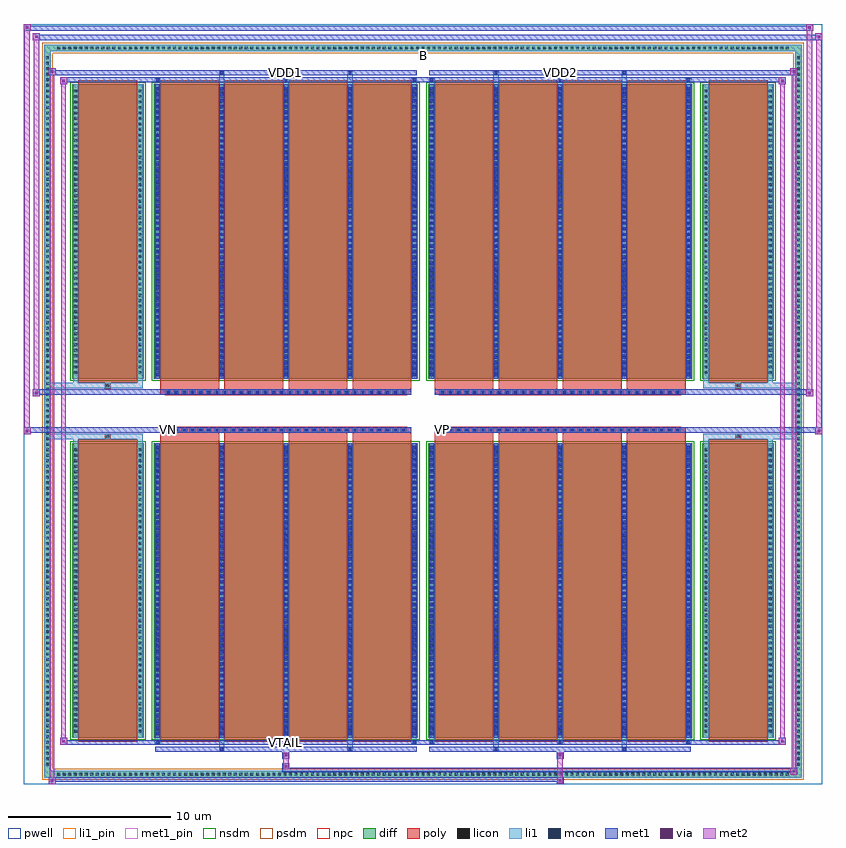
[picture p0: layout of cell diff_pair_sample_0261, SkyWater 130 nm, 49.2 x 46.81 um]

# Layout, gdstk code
import gdstk
lib = gdstk.Library(unit=1e-6, precision=5e-09)
def R(c, l, rs):  # rectangles x0, y0, x1, y1
    for r in rs: c.add(gdstk.rectangle(r[:2], r[2:], *l))
def A(c, l, x, y, w, h, nx, ny, dx, dy):  # array of equal rectangles
    R(c, l, [(x+i*dx, y+j*dy, x+i*dx+w, y+j*dy+h) for i in range(nx) for j in range(ny)])
def P(c, l, *ps):  # polygons
    for p in ps: c.add(gdstk.Polygon(p, *l))
pwell = (64, 44)
diff = (65, 20)
poly = (66, 20)
licon = (66, 44)
li1_pin = (67, 16)
li1 = (67, 20)
mcon = (67, 44)
met1_pin = (68, 16)
met1 = (68, 20)
via = (68, 44)
met2 = (69, 20)
nsdm = (93, 44)
psdm = (94, 20)
npc = (95, 20)

diff_pair_sample_0261 = lib.new_cell('diff_pair_sample_0261')
R(diff_pair_sample_0261, pwell, [(-24.6,-22.97,24.6,23.84), (-21.92,-21.16,-0.01,-0.8), (0.01,-21.16,21.92,-0.8), (-21.92,0.8,-0.01,21.16), (0.01,0.8,21.92,21.16)])
A(diff_pair_sample_0261, diff, -22.645, -22.57, 0.41, 0.41, 133, 2, 0.34, 44.73)
A(diff_pair_sample_0261, diff, -23.33, -21.965, 0.41, 0.41, 1, 129, 0, 0.34)
A(diff_pair_sample_0261, diff, 22.92, -21.965, 0.41, 0.41, 1, 129, 0, 0.34)
R(diff_pair_sample_0261, diff, [(-22.645,-22.57,22.645,-22.16), (-23.33,-21.965,-22.92,21.965), (22.92,-21.965,23.33,21.965), (-21.61,-20.115,-17.21,-1.985), (-16.57,-20.115,-0.32,-1.985), (0.32,-20.115,16.57,-1.985), (17.21,-20.115,21.61,-1.985), (-21.61,1.985,-17.21,20.115), (-16.57,1.985,-0.32,20.115), (0.32,1.985,16.57,20.115), (17.21,1.985,21.61,20.115), (-22.645,22.16,22.645,22.57)])
P(diff_pair_sample_0261, diff, [(23.33,22.57),(-23.33,22.57),(-23.33,-22.16),(-22.92,-22.16),(-22.92,22.16),(22.92,22.16),(22.92,-22.16),(-22.92,-22.16),(-23.33,-22.16),(-23.33,-22.57),(23.33,-22.57)])
A(diff_pair_sample_0261, poly, -16.18, -20.365, 3.62, 18.63, 4, 2, 3.95, 22.1)
A(diff_pair_sample_0261, poly, 0.71, -20.365, 3.62, 18.63, 4, 2, 3.95, 22.1)
A(diff_pair_sample_0261, poly, -16.18, -1.735, 3.62, 0.405, 4, 2, 3.95, 3.065)
A(diff_pair_sample_0261, poly, 0.71, -1.735, 3.62, 0.405, 4, 2, 3.95, 3.065)
A(diff_pair_sample_0261, poly, -15.86, -1.33, 0.33, 0.33, 30, 2, 0.5, 2.33)
A(diff_pair_sample_0261, poly, 1.03, -1.33, 0.33, 0.33, 30, 2, 0.5, 2.33)
R(diff_pair_sample_0261, poly, [(-21.22,-20.365,-17.6,-1.735), (17.6,-20.365,21.22,-1.735), (-19.575,-1.735,-19.245,-1.405), (-19.575,-1.735,-19.245,-1.405), (19.245,-1.735,19.575,-1.405), (19.245,-1.735,19.575,-1.405), (-16.18,-1.33,-0.71,-1), (0.71,-1.33,16.18,-1), (-16.18,1,-0.71,1.33), (0.71,1,16.18,1.33), (-19.575,1.405,-19.245,1.735), (-19.575,1.405,-19.245,1.735), (19.245,1.405,19.575,1.735), (19.245,1.405,19.575,1.735), (-21.22,1.735,-17.6,20.365), (17.6,1.735,21.22,20.365)])
A(diff_pair_sample_0261, licon, -22.525, -22.45, 0.17, 0.17, 133, 2, 0.34, 44.73)
A(diff_pair_sample_0261, licon, -23.21, -21.845, 0.17, 0.17, 1, 129, 0, 0.34)
A(diff_pair_sample_0261, licon, 23.04, -21.845, 0.17, 0.17, 1, 129, 0, 0.34)
A(diff_pair_sample_0261, licon, -21.47, -19.805, 0.17, 0.17, 1, 52, 0, 0.34)
A(diff_pair_sample_0261, licon, -17.52, -19.805, 0.17, 0.17, 1, 52, 0, 0.34)
A(diff_pair_sample_0261, licon, -16.43, -19.805, 0.17, 0.17, 5, 52, 3.95, 0.34)
A(diff_pair_sample_0261, licon, 0.46, -19.805, 0.17, 0.17, 5, 52, 3.95, 0.34)
A(diff_pair_sample_0261, licon, 17.35, -19.805, 0.17, 0.17, 1, 52, 0, 0.34)
A(diff_pair_sample_0261, licon, 21.3, -19.805, 0.17, 0.17, 1, 52, 0, 0.34)
A(diff_pair_sample_0261, licon, -15.78, -1.25, 0.17, 0.17, 30, 2, 0.5, 2.33)
A(diff_pair_sample_0261, licon, 1.11, -1.25, 0.17, 0.17, 30, 2, 0.5, 2.33)
A(diff_pair_sample_0261, licon, -21.47, 2.295, 0.17, 0.17, 1, 52, 0, 0.34)
A(diff_pair_sample_0261, licon, -17.52, 2.295, 0.17, 0.17, 1, 52, 0, 0.34)
A(diff_pair_sample_0261, licon, -16.43, 2.295, 0.17, 0.17, 5, 52, 3.95, 0.34)
A(diff_pair_sample_0261, licon, 0.46, 2.295, 0.17, 0.17, 5, 52, 3.95, 0.34)
A(diff_pair_sample_0261, licon, 17.35, 2.295, 0.17, 0.17, 1, 52, 0, 0.34)
A(diff_pair_sample_0261, licon, 21.3, 2.295, 0.17, 0.17, 1, 52, 0, 0.34)
R(diff_pair_sample_0261, licon, [(-19.495,-1.655,-19.325,-1.485), (19.325,-1.655,19.495,-1.485), (-19.495,1.485,-19.325,1.655), (19.325,1.485,19.495,1.655)])
R(diff_pair_sample_0261, li1_pin, [(-0.25,21.66,0.25,22.16)])
A(diff_pair_sample_0261, li1, -22.605, -22.53, 0.33, 0.33, 133, 2, 0.34, 44.73)
A(diff_pair_sample_0261, li1, -23.29, -21.925, 0.33, 0.33, 1, 129, 0, 0.34)
A(diff_pair_sample_0261, li1, 22.96, -21.925, 0.33, 0.33, 1, 129, 0, 0.34)
A(diff_pair_sample_0261, li1, -16.51, -20.49, 0.33, 0.375, 3, 2, 7.9, 40.605)
A(diff_pair_sample_0261, li1, -16.43, -20.49, 0.17, 0.17, 3, 2, 7.9, 40.81)
A(diff_pair_sample_0261, li1, 0.38, -20.49, 0.33, 0.375, 3, 2, 7.9, 40.605)
A(diff_pair_sample_0261, li1, 0.46, -20.49, 0.17, 0.17, 3, 2, 7.9, 40.81)
A(diff_pair_sample_0261, li1, -16.51, -20.115, 0.33, 18.13, 5, 2, 3.95, 22.1)
A(diff_pair_sample_0261, li1, 0.38, -20.115, 0.33, 18.13, 5, 2, 3.95, 22.1)
A(diff_pair_sample_0261, li1, -16.43, -19.955, 0.17, 0.17, 5, 50, 3.95, 0.36)
A(diff_pair_sample_0261, li1, -16.43, -19.955, 0.17, 17.81, 5, 2, 3.95, 22.1)
A(diff_pair_sample_0261, li1, 0.46, -19.955, 0.17, 0.17, 5, 50, 3.95, 0.36)
A(diff_pair_sample_0261, li1, 0.46, -19.955, 0.17, 17.81, 5, 2, 3.95, 22.1)
A(diff_pair_sample_0261, li1, -21.55, -19.885, 0.33, 0.33, 1, 52, 0, 0.34)
A(diff_pair_sample_0261, li1, -17.6, -19.885, 0.33, 0.33, 1, 52, 0, 0.34)
A(diff_pair_sample_0261, li1, -16.51, -19.885, 0.33, 0.33, 5, 52, 3.95, 0.34)
A(diff_pair_sample_0261, li1, 0.38, -19.885, 0.33, 0.33, 5, 52, 3.95, 0.34)
A(diff_pair_sample_0261, li1, 17.27, -19.885, 0.33, 0.33, 1, 52, 0, 0.34)
A(diff_pair_sample_0261, li1, 21.22, -19.885, 0.33, 0.33, 1, 52, 0, 0.34)
A(diff_pair_sample_0261, li1, -15.86, -1.33, 0.33, 0.33, 30, 2, 0.5, 2.33)
A(diff_pair_sample_0261, li1, 1.03, -1.33, 0.33, 0.33, 30, 2, 0.5, 2.33)
A(diff_pair_sample_0261, li1, -16.43, 2.145, 0.17, 0.17, 5, 50, 3.95, 0.36)
A(diff_pair_sample_0261, li1, 0.46, 2.145, 0.17, 0.17, 5, 50, 3.95, 0.36)
A(diff_pair_sample_0261, li1, -21.55, 2.215, 0.33, 0.33, 1, 52, 0, 0.34)
A(diff_pair_sample_0261, li1, -17.6, 2.215, 0.33, 0.33, 1, 52, 0, 0.34)
A(diff_pair_sample_0261, li1, -16.51, 2.215, 0.33, 0.33, 5, 52, 3.95, 0.34)
A(diff_pair_sample_0261, li1, 0.38, 2.215, 0.33, 0.33, 5, 52, 3.95, 0.34)
A(diff_pair_sample_0261, li1, 17.27, 2.215, 0.33, 0.33, 1, 52, 0, 0.34)
A(diff_pair_sample_0261, li1, 21.22, 2.215, 0.33, 0.33, 1, 52, 0, 0.34)
R(diff_pair_sample_0261, li1, [(-23.33,-22.57,-22.92,-22.16), (-23.33,-22.57,-22.92,-22.16), (-22.92,-22.57,22.92,-22.16), (22.92,-22.57,23.33,-22.16), (22.92,-22.57,23.33,-22.16), (-23.33,-22.16,-22.92,22.16), (22.92,-22.16,23.33,22.16), (-12.56,-20.92,-12.23,-20.115), (-12.48,-20.92,-12.31,-20.75), (-4.66,-20.92,-4.33,-20.115), (-4.58,-20.92,-4.41,-20.75), (4.33,-20.92,4.66,-20.115), (4.41,-20.92,4.58,-20.75), (12.23,-20.92,12.56,-20.115), (12.31,-20.92,12.48,-20.75), (-21.55,-20.115,-21.22,-1.985), (-17.6,-20.115,-17.27,-1.985), (17.27,-20.115,17.6,-1.985), (21.22,-20.115,21.55,-1.985), (-21.55,-1.985,-21.22,-1.405), (-17.6,-1.985,-17.27,-1.405), (17.27,-1.985,17.6,-1.405), (21.22,-1.985,21.55,-1.405), (-23.33,-1.735,-19.575,-1.405), (-21.55,-1.735,-19.575,-1.405), (-19.575,-1.735,-19.245,-1.405), (-19.245,-1.735,-17.27,-1.405), (17.27,-1.735,19.245,-1.405), (19.245,-1.735,19.575,-1.405), (19.245,-1.735,23.33,-1.405), (19.575,-1.735,21.55,-1.405), (-23.33,1.405,-19.575,1.735), (-21.55,1.405,-19.575,1.735), (-21.55,1.405,-21.22,1.985), (-19.575,1.405,-19.245,1.735), (-19.245,1.405,-17.27,1.735), (-17.6,1.405,-17.27,1.985), (17.27,1.405,19.245,1.735), (17.27,1.405,17.6,1.985), (19.245,1.405,19.575,1.735), (19.245,1.405,23.33,1.735), (19.575,1.405,21.55,1.735), (21.22,1.405,21.55,1.985), (-21.55,1.985,-21.22,20.115), (-17.6,1.985,-17.27,20.115), (17.27,1.985,17.6,20.115), (21.22,1.985,21.55,20.115), (-12.56,20.115,-12.23,20.92), (-4.66,20.115,-4.33,20.92), (4.33,20.115,4.66,20.92), (12.23,20.115,12.56,20.92), (-12.48,20.75,-12.31,20.92), (-4.58,20.75,-4.41,20.92), (4.41,20.75,4.58,20.92), (12.31,20.75,12.48,20.92), (-23.33,22.16,-22.92,22.57), (-23.33,22.16,-22.92,22.57), (-22.92,22.16,22.92,22.57), (22.92,22.16,23.33,22.57), (22.92,22.16,23.33,22.57)])
A(diff_pair_sample_0261, mcon, -16.43, -20.49, 0.17, 0.17, 3, 2, 7.9, 40.81)
A(diff_pair_sample_0261, mcon, 0.46, -20.49, 0.17, 0.17, 3, 2, 7.9, 40.81)
A(diff_pair_sample_0261, mcon, -16.43, -19.955, 0.17, 0.17, 5, 50, 3.95, 0.36)
A(diff_pair_sample_0261, mcon, 0.46, -19.955, 0.17, 0.17, 5, 50, 3.95, 0.36)
A(diff_pair_sample_0261, mcon, -15.78, -1.25, 0.17, 0.17, 30, 2, 0.5, 2.33)
A(diff_pair_sample_0261, mcon, 1.11, -1.25, 0.17, 0.17, 30, 2, 0.5, 2.33)
A(diff_pair_sample_0261, mcon, -16.43, 2.145, 0.17, 0.17, 5, 50, 3.95, 0.36)
A(diff_pair_sample_0261, mcon, 0.46, 2.145, 0.17, 0.17, 5, 50, 3.95, 0.36)
R(diff_pair_sample_0261, mcon, [(-12.48,-20.92,-12.31,-20.75), (-4.58,-20.92,-4.41,-20.75), (4.41,-20.92,4.58,-20.75), (12.31,-20.92,12.48,-20.75), (-12.48,20.75,-12.31,20.92), (-4.58,20.75,-4.41,20.92), (4.41,20.75,4.58,20.92), (12.31,20.75,12.48,20.92)])
R(diff_pair_sample_0261, met1_pin, [(-8.58,-20.53,-8.31,-20.26), (-15.83,-1.29,-15.56,-1.02), (1.06,-1.29,1.33,-1.02), (-8.58,20.71,-8.31,20.98), (8.31,20.71,8.58,20.98)])
A(diff_pair_sample_0261, met1, -16.49, -20.55, 0.29, 0.29, 3, 2, 7.9, 40.81)
A(diff_pair_sample_0261, met1, 0.4, -20.55, 0.29, 0.29, 3, 2, 7.9, 40.81)
A(diff_pair_sample_0261, met1, -16.49, -20.115, 0.29, 18.13, 5, 2, 3.95, 22.1)
A(diff_pair_sample_0261, met1, 0.4, -20.115, 0.29, 18.13, 5, 2, 3.95, 22.1)
A(diff_pair_sample_0261, met1, -16.49, -20.015, 0.29, 0.29, 5, 50, 3.95, 0.36)
A(diff_pair_sample_0261, met1, 0.4, -20.015, 0.29, 0.29, 5, 50, 3.95, 0.36)
A(diff_pair_sample_0261, met1, -15.84, -1.31, 0.29, 0.29, 30, 2, 0.5, 2.33)
A(diff_pair_sample_0261, met1, 1.05, -1.31, 0.29, 0.29, 30, 2, 0.5, 2.33)
A(diff_pair_sample_0261, met1, -16.49, 2.085, 0.29, 0.29, 5, 50, 3.95, 0.36)
A(diff_pair_sample_0261, met1, 0.4, 2.085, 0.29, 0.29, 5, 50, 3.95, 0.36)
R(diff_pair_sample_0261, met1, [(-23.06,-22.97,-22.63,-22.54), (8.23,-22.97,8.66,-22.54), (-23.06,-22.83,8.66,-22.54), (22.63,-22.4,23.06,-21.97), (-8.66,-22.26,23.06,-21.97), (-8.66,-22.12,-8.23,-21.69), (-8.66,-21.41,-8.23,-20.98), (8.23,-21.41,8.66,-20.98), (-16.49,-20.98,-0.4,-20.69), (-12.54,-20.98,-12.25,-20.69), (-4.64,-20.98,-4.35,-20.69), (0.4,-20.98,16.49,-20.69), (4.35,-20.98,4.64,-20.69), (12.25,-20.98,12.54,-20.69), (-22.35,-20.55,-21.92,-20.12), (-22.35,-20.55,-16.49,-20.26), (-16.49,-20.55,-0.4,-20.26), (-0.4,-20.55,0.4,-20.26), (0.4,-20.55,16.49,-20.26), (16.49,-20.55,22.35,-20.26), (21.92,-20.55,22.35,-20.12), (-24.6,-1.43,-24.17,-1), (24.17,-1.43,24.6,-1), (-24.6,-1.33,-0.71,-1), (-16.18,-1.33,-0.71,-1), (0.71,-1.33,16.18,-1), (0.71,-1.33,24.6,-1), (-24.03,0.9,-23.6,1.33), (23.6,0.9,24.03,1.33), (-24.03,1,-16.18,1.33), (-16.18,1,-0.71,1.33), (0.71,1,16.18,1.33), (16.18,1,24.03,1.33), (-22.35,20.12,-21.92,20.55), (21.92,20.12,22.35,20.55), (-22.35,20.26,-16.49,20.55), (-16.49,20.26,-0.4,20.55), (-0.4,20.26,0.4,20.55), (0.4,20.26,16.49,20.55), (16.49,20.26,22.35,20.55), (-23.06,20.69,-22.63,21.12), (-23.06,20.69,-16.49,20.98), (-16.49,20.69,-0.4,20.98), (-12.54,20.69,-12.25,20.98), (-4.64,20.69,-4.35,20.98), (0.4,20.69,16.49,20.98), (4.35,20.69,4.64,20.98), (12.25,20.69,12.54,20.98), (16.49,20.69,23.06,20.98), (22.63,20.69,23.06,21.12), (-24.03,22.84,-23.6,23.27), (-24.03,22.84,-21.92,23.17), (-21.92,22.84,21.92,23.17), (21.92,22.84,24.6,23.17), (24.17,22.84,24.6,23.27), (-24.6,23.41,-24.17,23.84), (-24.6,23.41,-21.92,23.74), (-21.92,23.41,21.92,23.74), (21.92,23.41,24.03,23.74), (23.6,23.41,24.03,23.84)])
R(diff_pair_sample_0261, via, [(-22.92,-22.83,-22.77,-22.68), (8.37,-22.83,8.52,-22.68), (22.77,-22.26,22.92,-22.11), (-8.52,-21.98,-8.37,-21.83), (-8.52,-21.27,-8.37,-21.12), (8.37,-21.27,8.52,-21.12), (-22.21,-20.41,-22.06,-20.26), (22.06,-20.41,22.21,-20.26), (-24.46,-1.29,-24.31,-1.14), (24.31,-1.29,24.46,-1.14), (-23.89,1.04,-23.74,1.19), (23.74,1.04,23.89,1.19), (-22.21,20.26,-22.06,20.41), (22.06,20.26,22.21,20.41), (-22.92,20.83,-22.77,20.98), (22.77,20.83,22.92,20.98), (-23.89,22.98,-23.74,23.13), (24.31,22.98,24.46,23.13), (-24.46,23.55,-24.31,23.7), (23.74,23.55,23.89,23.7)])
R(diff_pair_sample_0261, met2, [(-23.06,-22.97,-22.63,-22.54), (-22.99,-22.97,-22.7,21.12), (-22.7,-22.97,-22.63,-22.54), (-23.01,-22.92,-22.68,-22.59), (8.28,-22.92,8.61,-22.59), (8.28,-22.59,8.61,-21.36), (22.63,-22.4,23.06,-21.97), (22.7,-22.4,22.99,21.12), (22.99,-22.4,23.06,-21.97), (22.68,-22.35,23.01,-22.02), (-8.61,-22.07,-8.28,-21.74), (-8.61,-21.74,-8.28,-21.36), (-8.61,-21.36,-8.28,-21.03), (8.28,-21.36,8.61,-21.03), (-22.35,-20.55,-21.92,-20.12), (-22.28,-20.55,-21.99,20.55), (-21.99,-20.55,-21.92,-20.12), (21.92,-20.55,22.35,-20.12), (21.99,-20.55,22.28,20.55), (22.28,-20.55,22.35,-20.12), (-22.3,-20.5,-21.97,-20.17), (21.97,-20.5,22.3,-20.17), (-24.6,-1.43,-24.17,-1), (-24.55,-1.43,-24.22,23.84), (-24.22,-1.43,-24.17,-1), (24.17,-1.43,24.6,-1), (24.22,-1.43,24.55,23.27), (24.55,-1.43,24.6,-1), (-24.55,-1.38,-24.22,-1.05), (24.22,-1.38,24.55,-1.05), (-24.03,0.9,-23.6,1.33), (-23.98,0.9,-23.65,23.27), (-23.65,0.9,-23.6,1.33), (23.6,0.9,24.03,1.33), (23.65,0.9,23.98,23.84), (23.98,0.9,24.03,1.33), (-23.98,0.95,-23.65,1.28), (23.65,0.95,23.98,1.28), (-22.35,20.12,-21.92,20.55), (-21.99,20.12,-21.92,20.55), (21.92,20.12,22.35,20.55), (22.28,20.12,22.35,20.55), (-22.3,20.17,-21.97,20.5), (21.97,20.17,22.3,20.5), (-23.06,20.69,-22.63,21.12), (-22.7,20.69,-22.63,21.12), (22.63,20.69,23.06,21.12), (22.99,20.69,23.06,21.12), (-23.01,20.74,-22.68,21.07), (22.68,20.74,23.01,21.07), (-24.03,22.84,-23.6,23.27), (-23.65,22.84,-23.6,23.27), (24.17,22.84,24.6,23.27), (24.55,22.84,24.6,23.27), (-23.98,22.89,-23.65,23.22), (24.22,22.89,24.55,23.22), (-24.6,23.41,-24.17,23.84), (-24.22,23.41,-24.17,23.84), (23.6,23.41,24.03,23.84), (23.98,23.41,24.03,23.84), (-24.55,23.46,-24.22,23.79), (23.65,23.46,23.98,23.79)])
R(diff_pair_sample_0261, nsdm, [(-21.74,-20.245,-17.08,-1.855), (-16.7,-20.245,-0.19,-1.855), (0.19,-20.245,16.7,-1.855), (17.08,-20.245,21.74,-1.855), (-21.74,1.855,-17.08,20.245), (-16.7,1.855,-0.19,20.245), (0.19,1.855,16.7,20.245), (17.08,1.855,21.74,20.245)])
P(diff_pair_sample_0261, psdm, [(23.46,22.7),(-23.46,22.7),(-23.46,-22.03),(-22.79,-22.03),(-22.79,22.03),(22.79,22.03),(22.79,-22.03),(-22.79,-22.03),(-23.46,-22.03),(-23.46,-22.7),(23.46,-22.7)])
A(diff_pair_sample_0261, npc, -15.88, -1.35, 0.37, 0.37, 30, 2, 0.5, 2.33)
A(diff_pair_sample_0261, npc, 1.01, -1.35, 0.37, 0.37, 30, 2, 0.5, 2.33)
R(diff_pair_sample_0261, npc, [(-19.595,-1.755,-19.225,-1.385), (19.225,-1.755,19.595,-1.385), (-15.88,-1.35,-15.01,-0.98), (-15.88,-1.35,-15.01,-0.98), (-15.38,-1.35,-14.51,-0.98), (-15.38,-1.35,-14.51,-0.98), (-14.88,-1.35,-14.01,-0.98), (-14.88,-1.35,-14.01,-0.98), (-14.38,-1.35,-13.51,-0.98), (-14.38,-1.35,-13.51,-0.98), (-13.88,-1.35,-13.01,-0.98), (-13.88,-1.35,-13.01,-0.98), (-13.38,-1.35,-12.51,-0.98), (-13.38,-1.35,-12.51,-0.98), (-12.88,-1.35,-12.01,-0.98), (-12.88,-1.35,-12.01,-0.98), (-12.38,-1.35,-11.51,-0.98), (-12.38,-1.35,-11.51,-0.98), (-11.88,-1.35,-11.01,-0.98), (-11.88,-1.35,-11.01,-0.98), (-11.38,-1.35,-10.51,-0.98), (-11.38,-1.35,-10.51,-0.98), (-10.88,-1.35,-10.01,-0.98), (-10.88,-1.35,-10.01,-0.98), (-10.38,-1.35,-9.51,-0.98), (-10.38,-1.35,-9.51,-0.98), (-9.88,-1.35,-9.01,-0.98), (-9.88,-1.35,-9.01,-0.98), (-9.38,-1.35,-8.51,-0.98), (-9.38,-1.35,-8.51,-0.98), (-8.88,-1.35,-8.01,-0.98), (-8.88,-1.35,-8.01,-0.98), (-8.38,-1.35,-7.51,-0.98), (-8.38,-1.35,-7.51,-0.98), (-7.88,-1.35,-7.01,-0.98), (-7.88,-1.35,-7.01,-0.98), (-7.38,-1.35,-6.51,-0.98), (-7.38,-1.35,-6.51,-0.98), (-6.88,-1.35,-6.01,-0.98), (-6.88,-1.35,-6.01,-0.98), (-6.38,-1.35,-5.51,-0.98), (-6.38,-1.35,-5.51,-0.98), (-5.88,-1.35,-5.01,-0.98), (-5.88,-1.35,-5.01,-0.98), (-5.38,-1.35,-4.51,-0.98), (-5.38,-1.35,-4.51,-0.98), (-4.88,-1.35,-4.01,-0.98), (-4.88,-1.35,-4.01,-0.98), (-4.38,-1.35,-3.51,-0.98), (-4.38,-1.35,-3.51,-0.98), (-3.88,-1.35,-3.01,-0.98), (-3.88,-1.35,-3.01,-0.98), (-3.38,-1.35,-2.51,-0.98), (-3.38,-1.35,-2.51,-0.98), (-2.88,-1.35,-2.01,-0.98), (-2.88,-1.35,-2.01,-0.98), (-2.38,-1.35,-1.51,-0.98), (-2.38,-1.35,-1.51,-0.98), (-1.88,-1.35,-1.01,-0.98), (-1.88,-1.35,-1.01,-0.98), (1.01,-1.35,1.88,-0.98), (1.01,-1.35,1.88,-0.98), (1.51,-1.35,2.38,-0.98), (1.51,-1.35,2.38,-0.98), (2.01,-1.35,2.88,-0.98), (2.01,-1.35,2.88,-0.98), (2.51,-1.35,3.38,-0.98), (2.51,-1.35,3.38,-0.98), (3.01,-1.35,3.88,-0.98), (3.01,-1.35,3.88,-0.98), (3.51,-1.35,4.38,-0.98), (3.51,-1.35,4.38,-0.98), (4.01,-1.35,4.88,-0.98), (4.01,-1.35,4.88,-0.98), (4.51,-1.35,5.38,-0.98), (4.51,-1.35,5.38,-0.98), (5.01,-1.35,5.88,-0.98), (5.01,-1.35,5.88,-0.98), (5.51,-1.35,6.38,-0.98), (5.51,-1.35,6.38,-0.98), (6.01,-1.35,6.88,-0.98), (6.01,-1.35,6.88,-0.98), (6.51,-1.35,7.38,-0.98), (6.51,-1.35,7.38,-0.98), (7.01,-1.35,7.88,-0.98), (7.01,-1.35,7.88,-0.98), (7.51,-1.35,8.38,-0.98), (7.51,-1.35,8.38,-0.98), (8.01,-1.35,8.88,-0.98), (8.01,-1.35,8.88,-0.98), (8.51,-1.35,9.38,-0.98), (8.51,-1.35,9.38,-0.98), (9.01,-1.35,9.88,-0.98), (9.01,-1.35,9.88,-0.98), (9.51,-1.35,10.38,-0.98), (9.51,-1.35,10.38,-0.98), (10.01,-1.35,10.88,-0.98), (10.01,-1.35,10.88,-0.98), (10.51,-1.35,11.38,-0.98), (10.51,-1.35,11.38,-0.98), (11.01,-1.35,11.88,-0.98), (11.01,-1.35,11.88,-0.98), (11.51,-1.35,12.38,-0.98), (11.51,-1.35,12.38,-0.98), (12.01,-1.35,12.88,-0.98), (12.01,-1.35,12.88,-0.98), (12.51,-1.35,13.38,-0.98), (12.51,-1.35,13.38,-0.98), (13.01,-1.35,13.88,-0.98), (13.01,-1.35,13.88,-0.98), (13.51,-1.35,14.38,-0.98), (13.51,-1.35,14.38,-0.98), (14.01,-1.35,14.88,-0.98), (14.01,-1.35,14.88,-0.98), (14.51,-1.35,15.38,-0.98), (14.51,-1.35,15.38,-0.98), (15.01,-1.35,15.88,-0.98), (15.01,-1.35,15.88,-0.98), (-15.88,0.98,-15.01,1.35), (-15.88,0.98,-15.01,1.35), (-15.38,0.98,-14.51,1.35), (-15.38,0.98,-14.51,1.35), (-14.88,0.98,-14.01,1.35), (-14.88,0.98,-14.01,1.35), (-14.38,0.98,-13.51,1.35), (-14.38,0.98,-13.51,1.35), (-13.88,0.98,-13.01,1.35), (-13.88,0.98,-13.01,1.35), (-13.38,0.98,-12.51,1.35), (-13.38,0.98,-12.51,1.35), (-12.88,0.98,-12.01,1.35), (-12.88,0.98,-12.01,1.35), (-12.38,0.98,-11.51,1.35), (-12.38,0.98,-11.51,1.35), (-11.88,0.98,-11.01,1.35), (-11.88,0.98,-11.01,1.35), (-11.38,0.98,-10.51,1.35), (-11.38,0.98,-10.51,1.35), (-10.88,0.98,-10.01,1.35), (-10.88,0.98,-10.01,1.35), (-10.38,0.98,-9.51,1.35), (-10.38,0.98,-9.51,1.35), (-9.88,0.98,-9.01,1.35), (-9.88,0.98,-9.01,1.35), (-9.38,0.98,-8.51,1.35), (-9.38,0.98,-8.51,1.35), (-8.88,0.98,-8.01,1.35), (-8.88,0.98,-8.01,1.35), (-8.38,0.98,-7.51,1.35), (-8.38,0.98,-7.51,1.35), (-7.88,0.98,-7.01,1.35), (-7.88,0.98,-7.01,1.35), (-7.38,0.98,-6.51,1.35), (-7.38,0.98,-6.51,1.35), (-6.88,0.98,-6.01,1.35), (-6.88,0.98,-6.01,1.35), (-6.38,0.98,-5.51,1.35), (-6.38,0.98,-5.51,1.35), (-5.88,0.98,-5.01,1.35), (-5.88,0.98,-5.01,1.35), (-5.38,0.98,-4.51,1.35), (-5.38,0.98,-4.51,1.35), (-4.88,0.98,-4.01,1.35), (-4.88,0.98,-4.01,1.35), (-4.38,0.98,-3.51,1.35), (-4.38,0.98,-3.51,1.35), (-3.88,0.98,-3.01,1.35), (-3.88,0.98,-3.01,1.35), (-3.38,0.98,-2.51,1.35), (-3.38,0.98,-2.51,1.35), (-2.88,0.98,-2.01,1.35), (-2.88,0.98,-2.01,1.35), (-2.38,0.98,-1.51,1.35), (-2.38,0.98,-1.51,1.35), (-1.88,0.98,-1.01,1.35), (-1.88,0.98,-1.01,1.35), (1.01,0.98,1.88,1.35), (1.01,0.98,1.88,1.35), (1.51,0.98,2.38,1.35), (1.51,0.98,2.38,1.35), (2.01,0.98,2.88,1.35), (2.01,0.98,2.88,1.35), (2.51,0.98,3.38,1.35), (2.51,0.98,3.38,1.35), (3.01,0.98,3.88,1.35), (3.01,0.98,3.88,1.35), (3.51,0.98,4.38,1.35), (3.51,0.98,4.38,1.35), (4.01,0.98,4.88,1.35), (4.01,0.98,4.88,1.35), (4.51,0.98,5.38,1.35), (4.51,0.98,5.38,1.35), (5.01,0.98,5.88,1.35), (5.01,0.98,5.88,1.35), (5.51,0.98,6.38,1.35), (5.51,0.98,6.38,1.35), (6.01,0.98,6.88,1.35), (6.01,0.98,6.88,1.35), (6.51,0.98,7.38,1.35), (6.51,0.98,7.38,1.35), (7.01,0.98,7.88,1.35), (7.01,0.98,7.88,1.35), (7.51,0.98,8.38,1.35), (7.51,0.98,8.38,1.35), (8.01,0.98,8.88,1.35), (8.01,0.98,8.88,1.35), (8.51,0.98,9.38,1.35), (8.51,0.98,9.38,1.35), (9.01,0.98,9.88,1.35), (9.01,0.98,9.88,1.35), (9.51,0.98,10.38,1.35), (9.51,0.98,10.38,1.35), (10.01,0.98,10.88,1.35), (10.01,0.98,10.88,1.35), (10.51,0.98,11.38,1.35), (10.51,0.98,11.38,1.35), (11.01,0.98,11.88,1.35), (11.01,0.98,11.88,1.35), (11.51,0.98,12.38,1.35), (11.51,0.98,12.38,1.35), (12.01,0.98,12.88,1.35), (12.01,0.98,12.88,1.35), (12.51,0.98,13.38,1.35), (12.51,0.98,13.38,1.35), (13.01,0.98,13.88,1.35), (13.01,0.98,13.88,1.35), (13.51,0.98,14.38,1.35), (13.51,0.98,14.38,1.35), (14.01,0.98,14.88,1.35), (14.01,0.98,14.88,1.35), (14.51,0.98,15.38,1.35), (14.51,0.98,15.38,1.35), (15.01,0.98,15.88,1.35), (15.01,0.98,15.88,1.35), (-19.595,1.385,-19.225,1.755), (19.225,1.385,19.595,1.755)])
diff_pair_sample_0261.add(gdstk.Label('VTAIL', (-8.445,-20.395), layer=68, texttype=5))
diff_pair_sample_0261.add(gdstk.Label('VN', (-15.695,-1.155), layer=68, texttype=5))
diff_pair_sample_0261.add(gdstk.Label('VP', (1.195,-1.155), layer=68, texttype=5))
diff_pair_sample_0261.add(gdstk.Label('B', (0,21.91), layer=67, texttype=5))
diff_pair_sample_0261.add(gdstk.Label('VDD2', (8.445,20.845), layer=68, texttype=5))
diff_pair_sample_0261.add(gdstk.Label('VDD1', (-8.445,20.845), layer=68, texttype=5))

lib.write_gds('diff_pair_sample_0261.gds')
